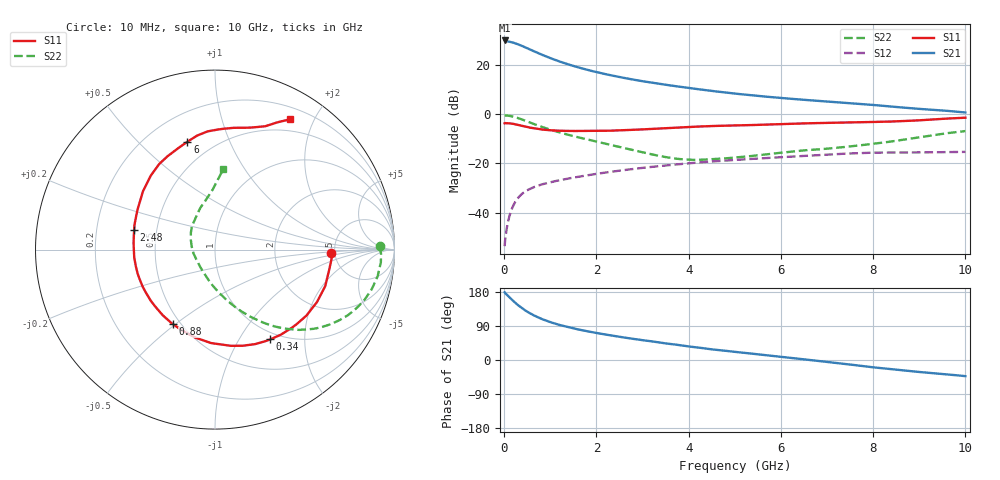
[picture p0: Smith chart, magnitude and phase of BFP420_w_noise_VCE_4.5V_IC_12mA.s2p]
! Infineon Technologies  Discrete & RF Semiconductors
! BFP420
! VCE =  4.5 V,  IC =  12 mA
! Common Emitter S-Parameters:  Jan 2016
# GHz  S  MA  R  50
!  f  S11  S21  S12  S22
! GHz  MAG  ANG  MAG  ANG  MAG  ANG  MAG  ANG
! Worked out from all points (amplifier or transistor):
!   233 points, 10 MHz to 10 GHz, reference 50 ohm
!   highest |S21| = 29.7 dB at 10 MHz (marker M1)
!   |S21| within 3 dB of that: start of sweep to 482.6 MHz
!   unconditionally stable (mu >= 1): start of sweep to 22.63 MHz; 2.223 GHz to end of sweep
!   at 200 MHz: K = 0.32, MSG = 32.9 dB, |S12| = -37.0 dB
!   at 1.74 GHz: K = 0.88, MSG = 21.6 dB, |S12| = -25.1 dB
!   at 10 GHz: K = 1.08, MAG = 6.2 dB, |S12| = -15.4 dB
!   lowest NFmin = 0.95 dB at 900 MHz
!   S11 on the Smith chart (normalised r, x): 10 MHz: 4.64, -0.29; 340 MHz: 0.90, -1.37; 880 MHz: 0.46, -0.49; 2.48 GHz: 0.37, +0.10; 6 GHz: 0.36, +0.71; 10 GHz: 0.34, +1.68
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0.01  0.6468 -1.6  30.68 178.6  0.0021 18.2  0.9175 1.2
0.02  0.6534 -3.2  29.75 176.8  0.0027 33.7  0.9257 -1.6
0.1  0.6469 -18.4  29.14 167.1  0.0076 63.3  0.9181 -9.4
0.19  0.6291 -34.1  27.79 156.6  0.0135 65.6  0.8834 -17.5
0.26  0.6102 -45.8  26.42 148.9  0.0176 63.6  0.8477 -23.3
0.34  0.5873 -58.4  24.8 141.1  0.0218 60.6  0.8003 -29.2
0.45  0.5574 -74.0  22.43 131.4  0.0266 56.9  0.7335 -36.1
0.6  0.5212 -92.4  19.4 120.3  0.0317 52.8  0.6477 -43.7
0.7  0.5019 -103.0  17.62 114.3  0.0345 50.9  0.5974 -47.7
0.88  0.4768 -119.2  14.94 105.2  0.0387 48.5  0.522 -53.7
1  0.4675 -128.6  13.48 99.9  0.0413 47.5  0.4796 -57.2
1.2  0.4572 -141.7  11.51 92.5  0.0453 46.3  0.4212 -62.3
1.4  0.4527 -152.8  9.983 86.3  0.0493 45.5  0.3749 -66.8
1.68  0.4508 -165.6  8.382 78.8  0.0547 44.6  0.3226 -72.6
2  0.4521 -177.8  7.025 71.4  0.0611 43.4  0.2751 -78.8
2.48  0.4634 166.5  5.63 61.7  0.0706 40.9  0.2166 -89.7
3.4  0.5086 143.2  4.018 45.7  0.0885 35.3  0.1389 -119.1
5.1  0.5862 115.6  2.522 20.2  0.1186 22.5  0.1331 169.3
6  0.6199 104.4  2.102 8.4  0.1328 15.8  0.1638 145.2
6.8  0.6525 95.7  1.839 -2.3  0.1464 9.0  0.1911 129.0
8.4  0.7014 75.5  1.405 -24.5  0.1651 -7.7  0.2768 101.3
10  0.8378 60.0  1.068 -42.6  0.1703 -19.4  0.4496 84.1
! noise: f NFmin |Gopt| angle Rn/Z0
0.9  0.95  0.03  -151  0.13
1.8  1.27  0.13  -152  0.12
2.4  1.38  0.13  -160  0.14
3  1.43  0.22  -145  0.13
4  1.58  0.35  -123  0.17
5  2.03  0.43  -103  0.28
6  2.4  0.47  -91  0.43
